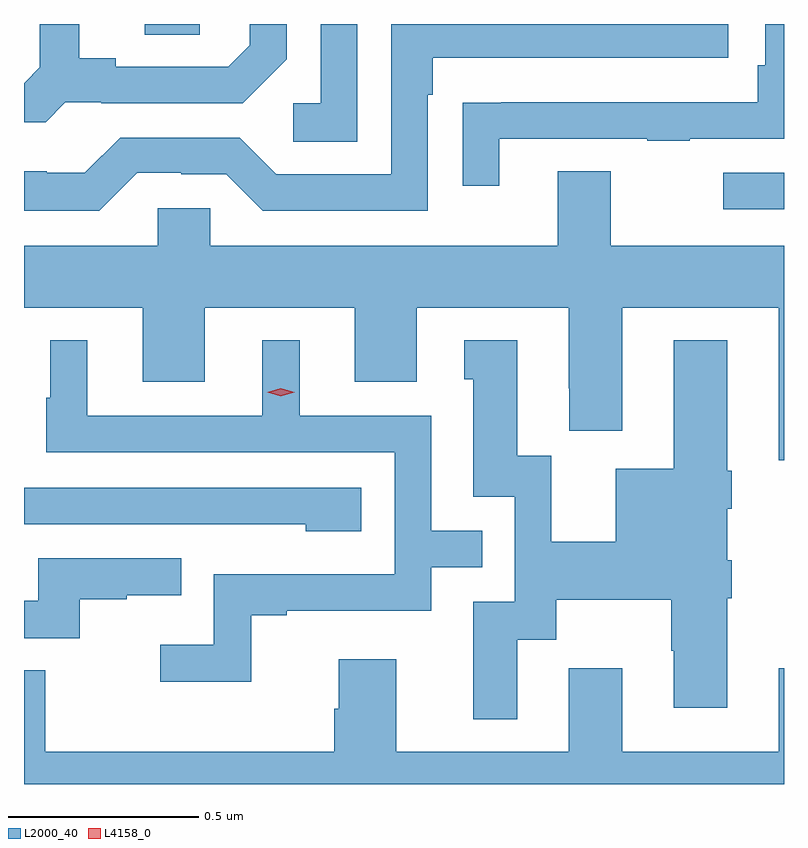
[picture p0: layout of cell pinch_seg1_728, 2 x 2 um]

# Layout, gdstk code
import gdstk
lib = gdstk.Library(unit=1e-6, precision=1e-09)
def R(c, l, rs):  # rectangles x0, y0, x1, y1
    for r in rs: c.add(gdstk.rectangle(r[:2], r[2:], *l))
def P(c, l, *ps):  # polygons
    for p in ps: c.add(gdstk.Polygon(p, *l))
L2000_40 = (2000, 40)
L4158_0 = (4158, 0)

pinch_seg1_728 = lib.new_cell('pinch_seg1_728')
R(pinch_seg1_728, L2000_40, [(747.045,551.991,747.205,552.087), (745.523,552.451,745.668,552.479)])
P(pinch_seg1_728, L2000_40, [(745.314,552.273),(745.408,552.273),(745.408,552.27),(745.78,552.27),(745.896,552.386),(745.896,552.479),(745.799,552.479),(745.799,552.423),(745.742,552.366),(745.447,552.366),(745.447,552.389),(745.351,552.389),(745.351,552.479),(745.247,552.479),(745.247,552.365),(745.205,552.323),(745.205,552.221),(745.262,552.221)],
  [(746.082,552.479),(745.986,552.479),(745.986,552.27),(745.914,552.27),(745.914,552.169),(746.082,552.169)],
  [(745.503,552.087),(745.619,552.087),(745.619,552.084),(745.737,552.084),(745.833,551.988),(746.268,551.988),(746.268,552.293),(746.281,552.293),(746.281,552.39),(747.058,552.39),(747.058,552.479),(746.172,552.479),(746.172,552.084),(745.869,552.084),(745.773,552.18),(745.458,552.18),(745.365,552.087),(745.265,552.087),(745.265,552.091),(745.205,552.091),(745.205,551.987),(745.403,551.987)],
  [(746.455,552.177),(746.845,552.177),(746.845,552.172),(746.957,552.172),(746.957,552.177),(747.205,552.177),(747.205,552.479),(747.156,552.479),(747.156,552.37),(747.136,552.37),(747.136,552.273),(746.461,552.273),(746.461,552.272),(746.359,552.272),(746.359,552.054),(746.455,552.054)],
  [(747.205,551.896),(746.749,551.896),(746.749,552.091),(746.609,552.091),(746.609,551.896),(745.695,551.896),(745.695,551.994),(745.557,551.994),(745.557,551.896),(745.205,551.896),(745.205,551.732),(745.517,551.732),(745.517,551.538),(745.681,551.538),(745.681,551.732),(746.075,551.732),(746.075,551.538),(746.239,551.538),(746.239,551.732),(746.639,551.732),(746.639,551.521),(746.64,551.521),(746.64,551.409),(746.779,551.409),(746.779,551.732),(747.191,551.732),(747.191,551.331),(747.205,551.331)],
  [(745.803,550.923),(745.897,550.923),(745.897,550.935),(746.277,550.935),(746.277,551.049),(746.411,551.049),(746.411,551.145),(746.277,551.145),(746.277,551.448),(745.93,551.448),(745.93,551.647),(745.832,551.647),(745.832,551.448),(745.372,551.448),(745.372,551.647),(745.274,551.647),(745.274,551.496),(745.263,551.496),(745.263,551.352),(746.181,551.352),(746.181,551.031),(745.704,551.031),(745.704,550.846),(745.563,550.846),(745.563,550.748),(745.803,550.748)],
  [(746.503,550.858),(746.605,550.858),(746.605,550.964),(746.908,550.964),(746.908,550.83),(746.915,550.83),(746.915,550.68),(747.055,550.68),(747.055,550.968),(747.068,550.968),(747.068,551.068),(747.055,551.068),(747.055,551.204),(747.068,551.204),(747.068,551.304),(747.055,551.304),(747.055,551.647),(746.915,551.647),(746.915,551.308),(746.762,551.308),(746.762,551.116),(746.592,551.116),(746.592,551.343),(746.503,551.343),(746.503,551.647),(746.363,551.647),(746.363,551.544),(746.387,551.544),(746.387,551.235),(746.496,551.235),(746.496,550.959),(746.387,550.959),(746.387,550.65),(746.503,550.65)],
  [(746.092,551.259),(745.205,551.259),(745.205,551.163),(745.711,551.163),(745.711,551.162),(745.947,551.162),(745.947,551.144),(746.092,551.144)],
  [(745.352,550.965),(745.475,550.965),(745.475,550.976),(745.619,550.976),(745.619,551.073),(745.242,551.073),(745.242,550.961),(745.205,550.961),(745.205,550.863),(745.352,550.863)],
  [(747.205,550.783),(747.191,550.783),(747.191,550.564),(746.779,550.564),(746.779,550.783),(746.639,550.783),(746.639,550.564),(746.185,550.564),(746.185,550.807),(746.033,550.807),(746.033,550.677),(746.021,550.677),(746.021,550.564),(745.261,550.564),(745.261,550.778),(745.205,550.778),(745.205,550.479),(747.205,550.479)])
P(pinch_seg1_728, L4158_0, [(745.881,551.5),(745.845,551.51),(745.845,551.51),(745.845,551.51),(745.881,551.52),(745.917,551.51),(745.917,551.51),(745.917,551.51)])

lib.write_gds('pinch_seg1_728.gds')
